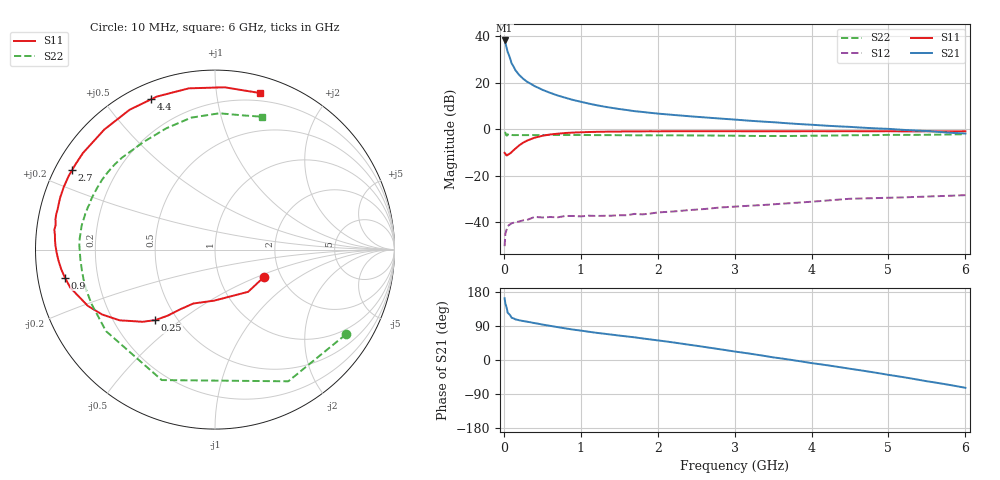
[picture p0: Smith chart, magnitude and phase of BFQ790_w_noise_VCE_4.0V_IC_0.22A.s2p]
! Infineon Technologies  Discrete & RF Semiconductors
! BFQ790
! VCE =  4.0 V,  IC = 0.22 A
! Common Emitter S-Parameters:  May 2015
# GHz  S  MA  R  50
!  f  S11  S21  S12  S22
! GHz  MAG  ANG  MAG  ANG  MAG  ANG  MAG  ANG
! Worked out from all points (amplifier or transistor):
!   77 points, 10 MHz to 6 GHz, reference 50 ohm
!   highest |S21| = 38.2 dB at 10 MHz (marker M1)
!   |S21| within 3 dB of that: start of sweep to 35.14 MHz
!   unconditionally stable (mu >= 1): 196.7 MHz to 383.6 MHz; 428 MHz to 772.2 MHz; 870 MHz to end of sweep
!   at 130 MHz: K = 0.79, MSG = 33.4 dB, |S12| = -40.1 dB
!   at 2.2 GHz: K = 1.32, MAG = 17.3 dB, |S12| = -35.3 dB
!   at 6 GHz: K = 1.13, MAG = 11.0 dB, |S12| = -28.3 dB
!   lowest NFmin = 3.50 dB at 1.5 GHz
!   S11 on the Smith chart (normalised r, x): 10 MHz: 1.64, -0.55; 250 MHz: 0.38, -0.41; 900 MHz: 0.08, -0.09; 2.7 GHz: 0.05, +0.26; 4.4 GHz: 0.07, +0.66; 6 GHz: 0.13, +1.32
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0.01  0.313 -29.1  80.83 162.9  0.0031 60.7  0.869 -32.9
0.02  0.299 -51.9  71.62 148.4  0.0057 56.9  0.8397 -60.9
0.05  0.2846 -91.1  45.58 124.4  0.0084 32.4  0.7851 -112.2
0.1  0.3236 -111.9  26.32 111.7  0.0096 20.2  0.7584 -143.2
0.15  0.3849 -120.2  18.61 107.3  0.0101 21.6  0.7515 -156.2
0.2  0.4525 -125.6  14.65 104.8  0.0105 22.7  0.7521 -163.0
0.25  0.5153 -130.3  12.24 102.9  0.0111 18.3  0.7508 -167.5
0.3  0.5698 -135.1  10.55 101.1  0.0113 16.4  0.7505 -170.9
0.4  0.6612 -143.4  8.455 97.3  0.0132 12.9  0.752 -175.8
0.5  0.7254 -150.1  7.065 93.6  0.0128 12.8  0.7538 -179.3
0.6  0.7747 -156.1  6.088 90.2  0.0131 13.2  0.7565 177.9
0.7  0.8039 -161.2  5.318 86.7  0.0129 14.5  0.7564 175.4
0.9  0.8505 -169.4  4.268 80.2  0.0138 9.9  0.7546 171.7
1.1  0.8743 -176.0  3.578 74.7  0.014 11.6  0.7536 168.2
1.5  0.8955 174.8  2.727 64.5  0.0143 12.5  0.7473 162.6
2.1  0.907 163.6  2.106 49.2  0.0168 13.5  0.7413 153.8
2.7  0.9111 150.9  1.756 31.7  0.0201 9.5  0.7344 142.1
3.1  0.9085 141.6  1.572 19.6  0.0224 5.4  0.7245 133.1
4.1  0.9103 119.3  1.223 -10.9  0.0287 -9.3  0.7295 109.5
4.4  0.9098 112.9  1.147 -19.9  0.0314 -14.7  0.7408 102.5
5.1  0.9058 96.7  0.996 -42.3  0.0343 -28.9  0.7587 86.1
6  0.9076 74.0  0.812 -73.4  0.0386 -49.0  0.7855 70.5
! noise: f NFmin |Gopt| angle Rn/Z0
0.45  5.75  0.49  142  0.55
0.9  4.04  0.62  168  0.18
1.5  3.5  0.72  -172  0.1
1.8  3.53  0.73  -167  0.11
2.6  3.76  0.75  -151  0.29
3.5  4.27  0.85  -135  0.6
